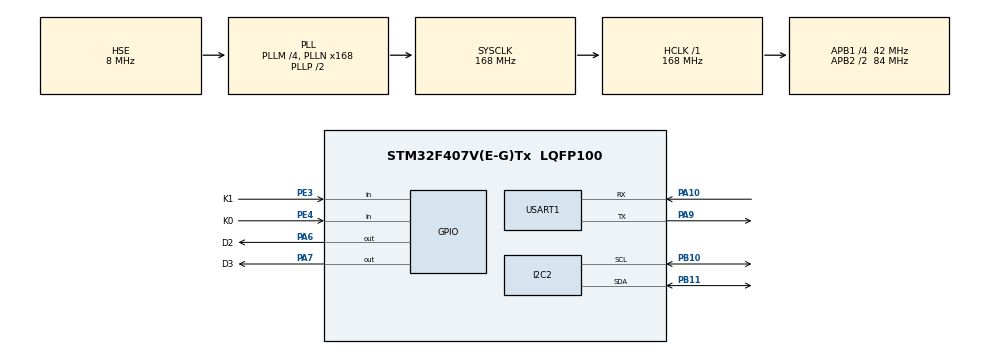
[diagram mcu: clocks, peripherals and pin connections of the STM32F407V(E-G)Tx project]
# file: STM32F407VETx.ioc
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Mcu.Family=STM32F4
Mcu.Name=STM32F407V(E-G)Tx
Mcu.Package=LQFP100
NVIC.PriorityGroup=NVIC_PRIORITYGROUP_4
PA10.Mode=Asynchronous
PA10.Signal=USART1_RX
PA13.Mode=Serial_Wire
PA13.Signal=SYS_JTMS-SWDIO
PA14.Mode=Serial_Wire
PA14.Signal=SYS_JTCK-SWCLK
PA6.GPIO_Label=D2
PA6.Signal=GPIO_Output
PA7.GPIO_Label=D3
PA7.PinState=GPIO_PIN_SET
PA7.Signal=GPIO_Output
PA9.Mode=Asynchronous
PA9.Signal=USART1_TX
PB10.Mode=I2C
PB10.Signal=I2C2_SCL
PB11.Mode=I2C
PB11.Signal=I2C2_SDA
PC14-OSC32_IN.Mode=LSE-External-Oscillator
PC14-OSC32_IN.Signal=RCC_OSC32_IN
PC15-OSC32_OUT.Mode=LSE-External-Oscillator
PC15-OSC32_OUT.Signal=RCC_OSC32_OUT
PE3.GPIO_Label=K1
PE3.GPIO_PuPd=GPIO_PULLUP
PE3.Signal=GPIO_Input
PE4.GPIO_Label=K0
PE4.GPIO_PuPd=GPIO_PULLUP
PE4.Signal=GPIO_Input
PH0-OSC_IN.Mode=HSE-External-Oscillator
PH0-OSC_IN.Signal=RCC_OSC_IN
PH1-OSC_OUT.Mode=HSE-External-Oscillator
PH1-OSC_OUT.Signal=RCC_OSC_OUT
ProjectManager.HeapSize=0x200
ProjectManager.StackSize=0x400
ProjectManager.TargetToolchain=TrueSTUDIO
RCC.48MHZClocksFreq_Value=84000000
RCC.AHBFreq_Value=168000000
RCC.APB1CLKDivider=RCC_HCLK_DIV4
RCC.APB1Freq_Value=42000000
RCC.APB1TimFreq_Value=84000000
RCC.APB2CLKDivider=RCC_HCLK_DIV2
RCC.APB2Freq_Value=84000000
RCC.APB2TimFreq_Value=168000000
RCC.CortexFreq_Value=168000000
RCC.HCLKFreq_Value=168000000
RCC.HSE_VALUE=8000000
RCC.HSI_VALUE=16000000
RCC.PLLM=4
RCC.PLLN=168
RCC.PLLSourceVirtual=RCC_PLLSOURCE_HSE
RCC.RCC_RTC_Clock_SourceVirtual=RCC_RTCCLKSOURCE_LSE
RCC.RCC_RTC_Clock_Source_FROM_HSE=RCC_RTCCLKSOURCE_HSE_DIV31
RCC.SYSCLKFreq_VALUE=168000000
RCC.SYSCLKSource=RCC_SYSCLKSOURCE_PLLCLK
RCC.VCOOutputFreq_Value=336000000
RTC.Date=9
RTC.Format=RTC_FORMAT_BIN
RTC.Hours=23
RTC.Minutes=4
RTC.Month=RTC_MONTH_JULY
RTC.Seconds=15
RTC.WeekDay=RTC_WEEKDAY_MONDAY
RTC.Year=18
USART1.VirtualMode=VM_ASYNC
VP_RTC_VS_RTC_Activate.Mode=RTC_Enabled
VP_RTC_VS_RTC_Calendar.Mode=RTC_Calendar
board=custom

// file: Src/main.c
/* USER CODE BEGIN Header */
/**
  ******************************************************************************
  * @file           : main.c
  * @brief          : Main program body
  ******************************************************************************
  * @attention
  *
  * <h2><center>&copy; Copyright (c) 2019 STMicroelectronics.
  * All rights reserved.</center></h2>
  *
  * This software component is licensed by ST under BSD 3-Clause license,
  * the "License"; You may not use this file except in compliance with the
  * License. You may obtain a copy of the License at:
  *                        opensource.org/licenses/BSD-3-Clause
  *
  ******************************************************************************
  */
/* USER CODE END Header */

#include "main.h"

/* USER CODE BEGIN Includes */
#include <string.h>
#include <stdio.h>
#include "ssd1306.h"
#include "fonts.h"
/* USER CODE END Includes */

I2C_HandleTypeDef hi2c2;

RTC_HandleTypeDef hrtc;

UART_HandleTypeDef huart1;

/* USER CODE BEGIN PV */
/* Private variables ---------------------------------------------------------*/

/* USER CODE END PV */

void SystemClock_Config(void);
static void MX_GPIO_Init(void);
static void MX_USART1_UART_Init(void);
static void MX_RTC_Init(void);
static void MX_I2C2_Init(void);
/* USER CODE BEGIN PFP */
/* Private function prototypes -----------------------------------------------*/

/* USER CODE END PFP */

int main(void)
{
  /* USER CODE BEGIN 1 */
  char str_temp[50]="Bob-Kara\n\r";
  GPIO_PinState K0_State, K1_State,
  	  	  	  	K0_State_legacy = GPIO_PIN_RESET, K1_State_legacy = GPIO_PIN_RESET;

  RTC_TimeTypeDef sTime_b;
  RTC_DateTypeDef sDate_b;
  /* USER CODE END 1 */

  /* MCU Configuration--------------------------------------------------------*/

  /* Reset of all peripherals, Initializes the Flash interface and the Systick. */
  HAL_Init();

  /* Configure the system clock */
  SystemClock_Config();

  /* Initialize all configured peripherals */
  MX_GPIO_Init();
  MX_USART1_UART_Init();
  MX_RTC_Init();
  MX_I2C2_Init();
  /* USER CODE BEGIN 2 */
  ssd1306_Init();
  HAL_Delay(1000);
  ssd1306_Fill(Black);
  ssd1306_UpdateScreen();

  HAL_Delay(100);

  HAL_UART_Transmit( &huart1, (uint8_t *)str_temp, (uint16_t)sizeof(str_temp), 1000);

  ssd1306_SetCursor(0, 0);
  ssd1306_WriteString("  [Bob-Kara]  ", Font_7x10, White);
  /*
   * A C
   * B D
  ssd1306_SetCursor( 0,  0);  ssd1306_WriteChar('A', Font_7x10, White);
  ssd1306_SetCursor( 0, 10);  ssd1306_WriteChar('B', Font_7x10, White);
  ssd1306_SetCursor(10,  0);  ssd1306_WriteChar('C', Font_7x10, White);
  ssd1306_SetCursor(10, 10);  ssd1306_WriteChar('D', Font_7x10, White);
  */
  ssd1306_UpdateScreen();
  /* USER CODE END 2 */

  /* Infinite loop */
  /* USER CODE BEGIN WHILE */
  while (1)
  {
	K0_State = HAL_GPIO_ReadPin(K0_GPIO_Port, K0_Pin);
	K1_State = HAL_GPIO_ReadPin(K1_GPIO_Port, K1_Pin);

	if((K0_State!=K0_State_legacy) || (K1_State!=K1_State_legacy))
	{
		K0_State_legacy = K0_State;
		K1_State_legacy = K1_State;
		memset(str_temp, 0, sizeof(str_temp));
		sprintf(str_temp, "K0_State: %d, K1_State: %d\n\r", K0_State, K1_State);
		HAL_UART_Transmit( &huart1, (uint8_t *)str_temp, (uint16_t)sizeof(str_temp), 1000);

		ssd1306_SetCursor(0, 40);	sprintf(str_temp, "K0: %d, K1: %d", K0_State, K1_State);
		ssd1306_WriteString(str_temp ,Font_7x10, White);

		ssd1306_UpdateScreen();
	}
	else
	{
		/* Reading RTC current time locks the values in calendar shadow registers until current date is read. */
		HAL_RTC_GetTime(&hrtc, &sTime_b, RTC_FORMAT_BIN);
		HAL_RTC_GetDate(&hrtc, &sDate_b, RTC_FORMAT_BIN);

		sprintf(str_temp, "20%02d/%02d/%02d (%01d)", \
							sDate_b.Year, sDate_b.Month, sDate_b.Date, sDate_b.WeekDay);
		ssd1306_SetCursor(0, 10);	ssd1306_WriteString(str_temp ,Font_7x10, White);

		sprintf(str_temp, "      %02d:%02d:%02d", \
							sTime_b.Hours, sTime_b.Minutes, sTime_b.Seconds);
		ssd1306_SetCursor(0, 20);	ssd1306_WriteString(str_temp ,Font_7x10, White);

		ssd1306_UpdateScreen();

		HAL_GPIO_TogglePin(D2_GPIO_Port, D2_Pin);
		HAL_Delay(10);	// 100ms
	}

	HAL_GPIO_WritePin(D3_GPIO_Port, D3_Pin, (K0_State & K1_State));
    /* USER CODE END WHILE */

  }
}

void SystemClock_Config(void)
{
  RCC_OscInitTypeDef RCC_OscInitStruct = {0};
  RCC_ClkInitTypeDef RCC_ClkInitStruct = {0};
  RCC_PeriphCLKInitTypeDef PeriphClkInitStruct = {0};

  /** Configure the main internal regulator output voltage
  */
  __HAL_RCC_PWR_CLK_ENABLE();
  __HAL_PWR_VOLTAGESCALING_CONFIG(PWR_REGULATOR_VOLTAGE_SCALE1);
  /** Initializes the CPU, AHB and APB busses clocks
  */
  RCC_OscInitStruct.OscillatorType = RCC_OSCILLATORTYPE_HSE|RCC_OSCILLATORTYPE_LSE;
  RCC_OscInitStruct.HSEState = RCC_HSE_ON;
  RCC_OscInitStruct.LSEState = RCC_LSE_ON;
  RCC_OscInitStruct.PLL.PLLState = RCC_PLL_ON;
  RCC_OscInitStruct.PLL.PLLSource = RCC_PLLSOURCE_HSE;
  RCC_OscInitStruct.PLL.PLLM = 4;
  RCC_OscInitStruct.PLL.PLLN = 168;
  RCC_OscInitStruct.PLL.PLLP = RCC_PLLP_DIV2;
  RCC_OscInitStruct.PLL.PLLQ = 4;
  if (HAL_RCC_OscConfig(&RCC_OscInitStruct) != HAL_OK)
  {
    Error_Handler();
  }
  /** Initializes the CPU, AHB and APB busses clocks
  */
  RCC_ClkInitStruct.ClockType = RCC_CLOCKTYPE_HCLK|RCC_CLOCKTYPE_SYSCLK
                              |RCC_CLOCKTYPE_PCLK1|RCC_CLOCKTYPE_PCLK2;
  RCC_ClkInitStruct.SYSCLKSource = RCC_SYSCLKSOURCE_PLLCLK;
  RCC_ClkInitStruct.AHBCLKDivider = RCC_SYSCLK_DIV1;
  RCC_ClkInitStruct.APB1CLKDivider = RCC_HCLK_DIV4;
  RCC_ClkInitStruct.APB2CLKDivider = RCC_HCLK_DIV2;

  if (HAL_RCC_ClockConfig(&RCC_ClkInitStruct, FLASH_LATENCY_5) != HAL_OK)
  {
    Error_Handler();
  }
  PeriphClkInitStruct.PeriphClockSelection = RCC_PERIPHCLK_RTC;
  PeriphClkInitStruct.RTCClockSelection = RCC_RTCCLKSOURCE_LSE;
  if (HAL_RCCEx_PeriphCLKConfig(&PeriphClkInitStruct) != HAL_OK)
  {
    Error_Handler();
  }
}

static void MX_I2C2_Init(void)
{

  hi2c2.Instance = I2C2;
  hi2c2.Init.ClockSpeed = 100000;
  hi2c2.Init.DutyCycle = I2C_DUTYCYCLE_2;
  hi2c2.Init.OwnAddress1 = 0;
  hi2c2.Init.AddressingMode = I2C_ADDRESSINGMODE_7BIT;
  hi2c2.Init.DualAddressMode = I2C_DUALADDRESS_DISABLE;
  hi2c2.Init.OwnAddress2 = 0;
  hi2c2.Init.GeneralCallMode = I2C_GENERALCALL_DISABLE;
  hi2c2.Init.NoStretchMode = I2C_NOSTRETCH_DISABLE;
  if (HAL_I2C_Init(&hi2c2) != HAL_OK)
  {
    Error_Handler();
  }

}

static void MX_RTC_Init(void)
{

  RTC_TimeTypeDef sTime = {0};
  RTC_DateTypeDef sDate = {0};

  /** Initialize RTC Only
  */
  hrtc.Instance = RTC;
  hrtc.Init.HourFormat = RTC_HOURFORMAT_24;
  hrtc.Init.AsynchPrediv = 127;
  hrtc.Init.SynchPrediv = 255;
  hrtc.Init.OutPut = RTC_OUTPUT_DISABLE;
  hrtc.Init.OutPutPolarity = RTC_OUTPUT_POLARITY_HIGH;
  hrtc.Init.OutPutType = RTC_OUTPUT_TYPE_OPENDRAIN;
  if (HAL_RTC_Init(&hrtc) != HAL_OK)
  {
    Error_Handler();
  }

  /** Initialize RTC and set the Time and Date
  */
  sTime.Hours = 23;
  sTime.Minutes = 4;
  sTime.Seconds = 15;
  sTime.DayLightSaving = RTC_DAYLIGHTSAVING_NONE;
  sTime.StoreOperation = RTC_STOREOPERATION_RESET;
  if (HAL_RTC_SetTime(&hrtc, &sTime, RTC_FORMAT_BIN) != HAL_OK)
  {
    Error_Handler();
  }
  sDate.WeekDay = RTC_WEEKDAY_MONDAY;
  sDate.Month = RTC_MONTH_JULY;
  sDate.Date = 9;
  sDate.Year = 18;

  if (HAL_RTC_SetDate(&hrtc, &sDate, RTC_FORMAT_BIN) != HAL_OK)
  {
    Error_Handler();
  }

}

static void MX_USART1_UART_Init(void)
{

  huart1.Instance = USART1;
  huart1.Init.BaudRate = 115200;
  huart1.Init.WordLength = UART_WORDLENGTH_8B;
  huart1.Init.StopBits = UART_STOPBITS_1;
  huart1.Init.Parity = UART_PARITY_NONE;
  huart1.Init.Mode = UART_MODE_TX_RX;
  huart1.Init.HwFlowCtl = UART_HWCONTROL_NONE;
  huart1.Init.OverSampling = UART_OVERSAMPLING_16;
  if (HAL_UART_Init(&huart1) != HAL_OK)
  {
    Error_Handler();
  }

}

static void MX_GPIO_Init(void)
{
  GPIO_InitTypeDef GPIO_InitStruct = {0};

  /* GPIO Ports Clock Enable */
  __HAL_RCC_GPIOE_CLK_ENABLE();
  __HAL_RCC_GPIOC_CLK_ENABLE();
  __HAL_RCC_GPIOH_CLK_ENABLE();
  __HAL_RCC_GPIOA_CLK_ENABLE();
  __HAL_RCC_GPIOB_CLK_ENABLE();

  /*Configure GPIO pin Output Level */
  HAL_GPIO_WritePin(D2_GPIO_Port, D2_Pin, GPIO_PIN_RESET);

  /*Configure GPIO pin Output Level */
  HAL_GPIO_WritePin(D3_GPIO_Port, D3_Pin, GPIO_PIN_SET);

  /*Configure GPIO pins : K1_Pin K0_Pin */
  GPIO_InitStruct.Pin = K1_Pin|K0_Pin;
  GPIO_InitStruct.Mode = GPIO_MODE_INPUT;
  GPIO_InitStruct.Pull = GPIO_PULLUP;
  HAL_GPIO_Init(GPIOE, &GPIO_InitStruct);

  /*Configure GPIO pins : D2_Pin D3_Pin */
  GPIO_InitStruct.Pin = D2_Pin|D3_Pin;
  GPIO_InitStruct.Mode = GPIO_MODE_OUTPUT_PP;
  GPIO_InitStruct.Pull = GPIO_NOPULL;
  GPIO_InitStruct.Speed = GPIO_SPEED_FREQ_LOW;
  HAL_GPIO_Init(GPIOA, &GPIO_InitStruct);

}

void Error_Handler(void)
{
  while(1)
  {
  }
}

/************************ (C) COPYRIGHT STMicroelectronics *****END OF FILE****/
